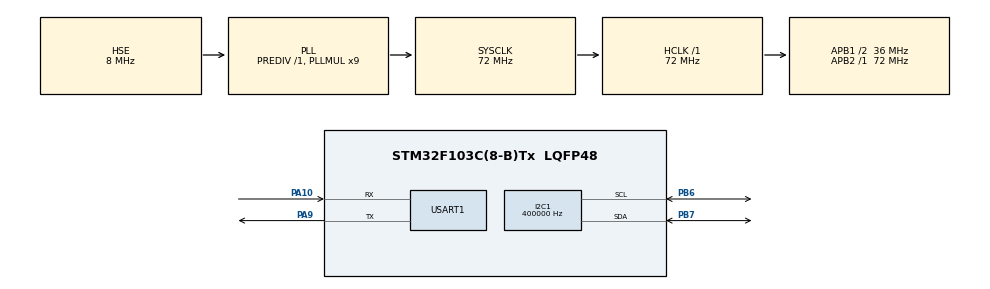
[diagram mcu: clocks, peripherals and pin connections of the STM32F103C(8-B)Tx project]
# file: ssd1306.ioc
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I2C1.ClockSpeed=400000
I2C1.I2C_Mode=I2C_Fast
Mcu.Family=STM32F1
Mcu.Name=STM32F103C(8-B)Tx
Mcu.Package=LQFP48
NVIC.PriorityGroup=NVIC_PRIORITYGROUP_4
NVIC.USART1_IRQn=true\:0\:0\:false
PA10.Mode=Asynchronous
PA10.Signal=USART1_RX
PA9.Mode=Asynchronous
PA9.Signal=USART1_TX
PB6.Mode=I2C
PB6.Signal=I2C1_SCL
PB7.Mode=I2C
PB7.Signal=I2C1_SDA
PD0-OSC_IN.Mode=HSE-External-Oscillator
PD0-OSC_IN.Signal=RCC_OSC_IN
PD1-OSC_OUT.Mode=HSE-External-Oscillator
PD1-OSC_OUT.Signal=RCC_OSC_OUT
ProjectManager.HeapSize=0x400
ProjectManager.StackSize=0x200
ProjectManager.TargetToolchain=MDK-ARM V5
RCC.AHBFreq_Value=72000000
RCC.APB1CLKDivider=RCC_HCLK_DIV2
RCC.APB1Freq_Value=36000000
RCC.APB1TimFreq_Value=72000000
RCC.APB2Freq_Value=72000000
RCC.APB2TimFreq_Value=72000000
RCC.HCLKFreq_Value=72000000
RCC.HSIState=RCC_HSI_ON
RCC.PLLMUL=RCC_PLL_MUL9
RCC.PLLSourceVirtual=RCC_PLLSOURCE_HSE
RCC.SYSCLKFreq_VALUE=72000000
RCC.SYSCLKSource=RCC_SYSCLKSOURCE_PLLCLK
RCC.USBFreq_Value=72000000
board=ssd1306

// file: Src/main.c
/**
  ******************************************************************************
  * File Name          : main.c
  * Description        : Main program body
  ******************************************************************************
  *
  * COPYRIGHT(c) 2016 STMicroelectronics
  *
  * Redistribution and use in source and binary forms, with or without modification,
  * are permitted provided that the following conditions are met:
  *   1. Redistributions of source code must retain the above copyright notice,
  *      this list of conditions and the following disclaimer.
  *   2. Redistributions in binary form must reproduce the above copyright notice,
  *      this list of conditions and the following disclaimer in the documentation
  *      and/or other materials provided with the distribution.
  *   3. Neither the name of STMicroelectronics nor the names of its contributors
  *      may be used to endorse or promote products derived from this software
  *      without specific prior written permission.
  *
  * THIS SOFTWARE IS PROVIDED BY THE COPYRIGHT HOLDERS AND CONTRIBUTORS "AS IS"
  * AND ANY EXPRESS OR IMPLIED WARRANTIES, INCLUDING, BUT NOT LIMITED TO, THE
  * IMPLIED WARRANTIES OF MERCHANTABILITY AND FITNESS FOR A PARTICULAR PURPOSE ARE
  * DISCLAIMED. IN NO EVENT SHALL THE COPYRIGHT HOLDER OR CONTRIBUTORS BE LIABLE
  * FOR ANY DIRECT, INDIRECT, INCIDENTAL, SPECIAL, EXEMPLARY, OR CONSEQUENTIAL
  * DAMAGES (INCLUDING, BUT NOT LIMITED TO, PROCUREMENT OF SUBSTITUTE GOODS OR
  * SERVICES; LOSS OF USE, DATA, OR PROFITS; OR BUSINESS INTERRUPTION) HOWEVER
  * CAUSED AND ON ANY THEORY OF LIABILITY, WHETHER IN CONTRACT, STRICT LIABILITY,
  * OR TORT (INCLUDING NEGLIGENCE OR OTHERWISE) ARISING IN ANY WAY OUT OF THE USE
  * OF THIS SOFTWARE, EVEN IF ADVISED OF THE POSSIBILITY OF SUCH DAMAGE.
  *
  ******************************************************************************
  */
#include "stm32f1xx_hal.h"
#include "i2c.h"
#include "usart.h"
#include "gpio.h"

/* USER CODE BEGIN Includes */
#include "fonts.h"
#include "ssd1306.h"
/* USER CODE END Includes */

/* USER CODE BEGIN PV */
/* Private variables ---------------------------------------------------------*/

/* USER CODE END PV */

void SystemClock_Config(void);

/* USER CODE BEGIN PFP */
/* Private function prototypes -----------------------------------------------*/

/* USER CODE END PFP */

int main(void)
{

  /* MCU Configuration----------------------------------------------------------*/

  /* Reset of all peripherals, Initializes the Flash interface and the Systick. */
  HAL_Init();

  /* Configure the system clock */
  SystemClock_Config();

  /* Initialize all configured peripherals */
  MX_GPIO_Init();
  MX_I2C1_Init();
  MX_USART1_UART_Init();

  /* USER CODE BEGIN 2 */
	uint8_t res = SSD1306_Init();
	printf("OLED init: %d\n", res);
	SSD1306_GotoXY(10,27);
	SSD1306_Puts("OLED inited", &Font_7x10, 1);
	SSD1306_GotoXY(10,52);
	SSD1306_Puts("Lutsai Alexander", &Font_7x10, 1);
	SSD1306_UpdateScreen(); //display
	HAL_Delay(1000);

	SSD1306_Fill(0); //clear oled
	int y1 = 64, y2 = 0;
	while(y1 > 0)
	{
		SSD1306_DrawLine(0, y1, 128, y2, 1);
		SSD1306_UpdateScreen();
		y1 -= 2;
		y2 += 2;
	}
	HAL_Delay(1000);
	SSD1306_Fill(1); //clear oled
	SSD1306_UpdateScreen();
	SSD1306_DrawCircle(64, 32, 25, 0);
	SSD1306_UpdateScreen();
	SSD1306_DrawCircle(128, 32, 25, 0);
	SSD1306_UpdateScreen();
	SSD1306_DrawCircle(0, 32, 25, 0);
	SSD1306_UpdateScreen();
	SSD1306_DrawCircle(32, 32, 25, 0);
	SSD1306_UpdateScreen();
	SSD1306_DrawCircle(96, 32, 25, 0);
	SSD1306_UpdateScreen();
	HAL_Delay(1000);

	SSD1306_Fill(0); //clear oled
	SSD1306_UpdateScreen();
	int32_t i = -100;
	char buf[10];
	while(i<=100)
	{
		memset(&buf[0], 0, sizeof(buf));
		sprintf(buf, "%d", i);
		SSD1306_GotoXY(50,27);
		SSD1306_Puts(buf, &Font_7x10, 1);
		SSD1306_DrawLine(64, 10, (i+100)*128/200, (i+100)*64/200, 1);
		SSD1306_UpdateScreen();
		SSD1306_Fill(0); //clear oled
		i++;
	}
	SSD1306_GotoXY(50,27);
	sprintf(buf, "END");
	SSD1306_Puts(buf, &Font_7x10, 1);
	SSD1306_GotoXY(10,52);
	SSD1306_Puts("Lutsai Alexander", &Font_7x10, 1);
	SSD1306_UpdateScreen();
	SSD1306_Fill(0); //clear oled
	HAL_Delay(1000);

  /* USER CODE END 2 */

  /* Infinite loop */
  /* USER CODE BEGIN WHILE */
	uint32_t lst = 0, cu;
  while (1)
  {
  /* USER CODE END WHILE */
		cu = HAL_GetTick();
		SSD1306_GotoXY(30,27);
		sprintf(buf, "fps: %f", 1000.0 / (double)(cu - lst));
		SSD1306_Puts(buf, &Font_7x10, 1);
		SSD1306_GotoXY(7,52);
		SSD1306_Puts("Lutsai Alexander", &Font_7x10, 1);
		SSD1306_UpdateScreen();
		SSD1306_Fill(0); //clear oled
		lst = cu;
  }

}

/** System Clock Configuration
*/
void SystemClock_Config(void)
{

  RCC_OscInitTypeDef RCC_OscInitStruct;
  RCC_ClkInitTypeDef RCC_ClkInitStruct;

  RCC_OscInitStruct.OscillatorType = RCC_OSCILLATORTYPE_HSE;
  RCC_OscInitStruct.HSEState = RCC_HSE_ON;
  RCC_OscInitStruct.HSEPredivValue = RCC_HSE_PREDIV_DIV1;
  RCC_OscInitStruct.PLL.PLLState = RCC_PLL_ON;
  RCC_OscInitStruct.PLL.PLLSource = RCC_PLLSOURCE_HSE;
  RCC_OscInitStruct.PLL.PLLMUL = RCC_PLL_MUL9;
  HAL_RCC_OscConfig(&RCC_OscInitStruct);

  RCC_ClkInitStruct.ClockType = RCC_CLOCKTYPE_HCLK|RCC_CLOCKTYPE_SYSCLK
                              |RCC_CLOCKTYPE_PCLK1|RCC_CLOCKTYPE_PCLK2;
  RCC_ClkInitStruct.SYSCLKSource = RCC_SYSCLKSOURCE_PLLCLK;
  RCC_ClkInitStruct.AHBCLKDivider = RCC_SYSCLK_DIV1;
  RCC_ClkInitStruct.APB1CLKDivider = RCC_HCLK_DIV2;
  RCC_ClkInitStruct.APB2CLKDivider = RCC_HCLK_DIV1;
  HAL_RCC_ClockConfig(&RCC_ClkInitStruct, FLASH_LATENCY_2);

  HAL_SYSTICK_Config(HAL_RCC_GetHCLKFreq()/1000);

  HAL_SYSTICK_CLKSourceConfig(SYSTICK_CLKSOURCE_HCLK);

  /* SysTick_IRQn interrupt configuration */
  HAL_NVIC_SetPriority(SysTick_IRQn, 0, 0);
}

/************************ (C) COPYRIGHT STMicroelectronics *****END OF FILE****/
